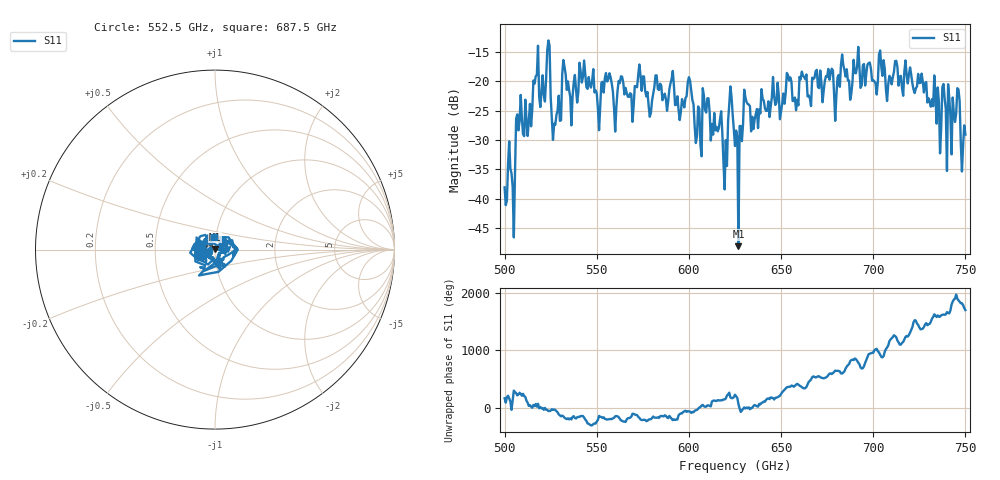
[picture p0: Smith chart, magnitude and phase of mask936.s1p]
!Created with skrf (http://scikit-rf.org).
# GHz S MA R 50.0
!freq magS11 angS11
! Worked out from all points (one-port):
!   401 points, 500 GHz to 750 GHz, reference 50 ohm
!   lowest |S11| = -48.1 dB at 626.9 GHz (marker M1), VSWR 1.01, Z = 50.2 + j0.359 ohm
!   |S11| at or under -10 dB: start of sweep to end of sweep
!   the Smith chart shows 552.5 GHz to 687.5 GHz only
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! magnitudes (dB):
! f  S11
! 500 GHz  -38.1
! 504.4 GHz  -38.0
! 507.5 GHz  -28.3
! 513.8 GHz  -23.8
! 516.9 GHz  -19.1
! 520.6 GHz  -19.0
! 523.8 GHz  -13.0
! 526.9 GHz  -27.2
! 531.2 GHz  -18.8
! 541.9 GHz  -20.2
! 550.6 GHz  -24.6
! 556.2 GHz  -19.6
! 560 GHz  -28.6
! 562.5 GHz  -20.3
! 593.8 GHz  -22.5
! 600.6 GHz  -19.9
! 605.6 GHz  -24.7
! 608.8 GHz  -24.9
! 619.4 GHz  -38.4
! 622.5 GHz  -20.9
! 625 GHz  -31.0
! 626.9 GHz  -48.1
! 631.2 GHz  -23.5
! 635 GHz  -28.1
! 656.2 GHz  -23.3
! 687.5 GHz  -23.1
! 718.8 GHz  -20.3
! 750 GHz  -29.1
